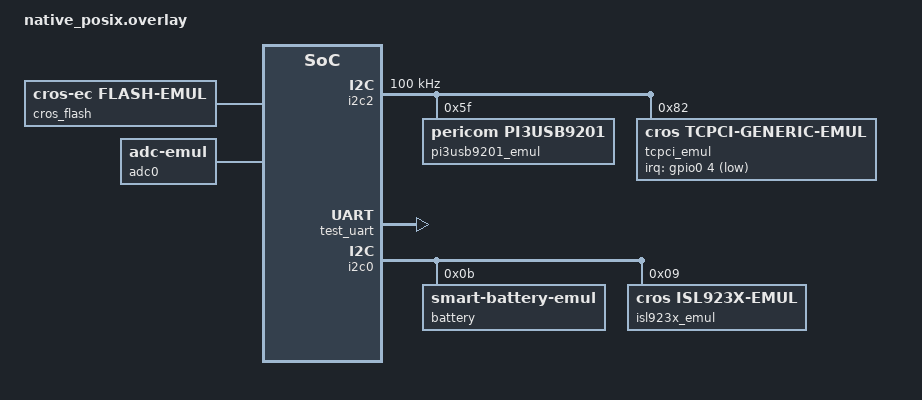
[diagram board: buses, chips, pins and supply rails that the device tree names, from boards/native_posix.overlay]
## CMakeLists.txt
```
# Copyright 2021 The ChromiumOS Authors
# Use of this source code is governed by a BSD-style license that can be
# found in the LICENSE file.

cmake_minimum_required(VERSION 3.13.1)
find_package(Zephyr REQUIRED HINTS "${ZEPHYR_BASE}")
project(vboot_efs2)

add_subdirectory(${PLATFORM_EC}/zephyr/test/test_utils test_utils)

FILE(GLOB app_sources src/*.c)
target_sources(app PRIVATE ${app_sources})
```

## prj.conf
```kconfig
# Copyright 2022 The ChromiumOS Authors
# Use of this source code is governed by a BSD-style license that can be
# found in the LICENSE file.

CONFIG_CROS_EC=y
CONFIG_FLASH=y
CONFIG_PLATFORM_EC=y
CONFIG_PLATFORM_EC_BACKLIGHT_LID=n
CONFIG_PLATFORM_EC_BATTERY_FUEL_GAUGE=y
CONFIG_PLATFORM_EC_CHARGER_ISL9238=y
CONFIG_PLATFORM_EC_CHARGER_SENSE_RESISTOR=10
CONFIG_PLATFORM_EC_CHARGER_SENSE_RESISTOR_AC=10
CONFIG_PLATFORM_EC_CHARGE_RAMP_SW=y
CONFIG_PLATFORM_EC_HOSTCMD=y
CONFIG_PLATFORM_EC_SWITCH=n
CONFIG_PLATFORM_EC_USBC=y
CONFIG_PLATFORM_EC_USB_CHARGER=y
CONFIG_PLATFORM_EC_USB_PD_DISCHARGE=n
CONFIG_PLATFORM_EC_USB_PD_TCPM_MUX=y
CONFIG_PLATFORM_EC_USB_PD_VBUS_DETECT_TCPC=y
CONFIG_PLATFORM_EC_USB_PD_VBUS_MEASURE_CHARGER=y
CONFIG_PLATFORM_EC_VBOOT_EFS2=y
CONFIG_PLATFORM_EC_VBOOT_HASH=y
CONFIG_RING_BUFFER=y
CONFIG_SERIAL=y
CONFIG_SHELL_BACKEND_DUMMY=y
CONFIG_SHELL_BACKEND_DUMMY_BUF_SIZE=1000
CONFIG_SHELL_BACKEND_SERIAL=n
CONFIG_ZTEST=y
CONFIG_EMUL=y
```

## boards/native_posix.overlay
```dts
/* Copyright 2022 The ChromiumOS Authors
 * Use of this source code is governed by a BSD-style license that can be
 * found in the LICENSE file.
 */

#include <board-overlays/native_posix.dts>
#include <cros/binman.dtsi>

/ {
	chosen {
		cros-ec,flash = &flash1;
		cros-ec,flash-controller = &cros_flash;
		zephyr,shell-uart = &test_uart;
	};
	aliases {
		gpio-wp = &gpio_wp_l;
	};
	named-gpios {
		compatible = "named-gpios";
		ec_gsc_packet_mode {
			gpios = <&gpio0 2 GPIO_OUTPUT_LOW>;
			enum-name = "GPIO_PACKET_MODE_EN";
		};
		gpio_wp_l: wp_l {
			gpios = <&gpio0 3 (GPIO_INPUT | GPIO_ACTIVE_LOW)>;
		};
		usb_c0_tcpc_int_odl: usb_c0_tcpc_int_odl {
			gpios = <&gpio0 4 (GPIO_INPUT | GPIO_ACTIVE_LOW)>;
		};
		ec_batt_pres_odl {
			gpios = <&gpio0 5 GPIO_INPUT>;
			enum-name = "GPIO_BATT_PRES_ODL";
		};
	};
	cros_flash: cros-flash {
		compatible = "cros-ec,flash-emul";
	};
	flash1: flash@64000000 {
		reg = <0x64000000 DT_SIZE_K(512)>;
	};
	named-i2c-ports {
		compatible = "named-i2c-ports";

		named_i2c0: i2c0 {
			i2c-port = <&i2c0>;
			enum-names = "I2C_PORT_BATTERY",
				"I2C_PORT_CHARGER";
		};
		named_i2c2: i2c2 {
			i2c-port = <&i2c2>;
			dynamic-speed;
			enum-names = "I2C_PORT_USB_C0";
		};
	};
	usbc {
		#address-cells = <1>;
		#size-cells = <0>;

		port0@0 {
			compatible = "named-usbc-port";
			reg = <0>;
			bc12 = <&pi3usb9201_emul>;
			chg = <&isl923x_emul>;
			tcpc = <&tcpci_emul>;
			usb-mux-chain-1 {
				compatible = "cros-ec,usb-mux-chain";
				usb-muxes = <&tcpci_mux_c0>;
			};
		};
		port0-muxes {
			tcpci_mux_c0: tcpci-mux-c0 {
				compatible = "cros-ec,usbc-mux-tcpci";
			};
		};
	};
	i2c2: i2c@500 {
		status = "okay";
		compatible = "zephyr,i2c-emul-controller";
		clock-frequency = <I2C_BITRATE_STANDARD>;
		#address-cells = <1>;
		#size-cells = <0>;
		reg = <0x500 4>;

		pi3usb9201_emul: pi3usb9201@5f {
			compatible = "pericom,pi3usb9201";
			reg = <0x5f>;
		};
		tcpci_emul: tcpci_emul@82 {
			compatible = "cros,tcpci-generic-emul";
			status = "okay";
			reg = <0x82>;
			irq-gpios = <&gpio0 4 GPIO_ACTIVE_LOW>;
		};
	};
	adc0: adc {
		compatible = "zephyr,adc-emul";
		nchannels = <6>;
		ref-internal-mv = <3300>;
		#io-channel-cells = <1>;
		status = "okay";
	};
	named-adc-channels {
		compatible = "named-adc-channels";

		adc_charger: charger {
			enum-name = "ADC_TEMP_SENSOR_CHARGER";
			io-channels = <&adc0 0>;
		};
	};
	batteries {
		default_battery: lgc_ac17a8m {
			compatible = "lgc,ac17a8m", "battery-smart";
		};
	};
	test_uart: uart@55556666 {
		compatible = "vnd,serial";
		reg = <0x55556666 0x1000>;
		status = "okay";
		buffer-size = <200>;
	};
};

&gpio0 {
	ngpios = <6>;
};

&i2c0 {
	battery: sb@b {
		compatible = "zephyr,smart-battery-emul";
		reg = <0xb>;
		cycle-count = <99>;
		version = "BATTERY_SPEC_VER_1_1_WITH_PEC";
		/* Real battery voltages are multiples of 4.4V. */
		desired-charg-volt = <5000>;
		desired-charg-cur = <1000>;
		mf-name = "LGC";
		dev-name = "AC17A8M";
	};

	isl923x_emul: isl923x@9 {
		compatible = "cros,isl923x-emul";
		status = "okay";
		reg = <0x9>;
		battery = <&battery>;
	};
};
```

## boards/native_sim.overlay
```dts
/* Copyright 2022 The ChromiumOS Authors
 * Use of this source code is governed by a BSD-style license that can be
 * found in the LICENSE file.
 */

#include <board-overlays/native_sim.dts>
#include <cros/binman.dtsi>

/ {
	chosen {
		cros-ec,flash = &flash1;
		cros-ec,flash-controller = &cros_flash;
		zephyr,shell-uart = &test_uart;
	};
	aliases {
		gpio-wp = &gpio_wp_l;
	};
	named-gpios {
		compatible = "named-gpios";
		ec_gsc_packet_mode {
			gpios = <&gpio0 2 GPIO_OUTPUT_LOW>;
			enum-name = "GPIO_PACKET_MODE_EN";
		};
		gpio_wp_l: wp_l {
			gpios = <&gpio0 3 (GPIO_INPUT | GPIO_ACTIVE_LOW)>;
		};
		usb_c0_tcpc_int_odl: usb_c0_tcpc_int_odl {
			gpios = <&gpio0 4 (GPIO_INPUT | GPIO_ACTIVE_LOW)>;
		};
		ec_batt_pres_odl {
			gpios = <&gpio0 5 GPIO_INPUT>;
			enum-name = "GPIO_BATT_PRES_ODL";
		};
	};
	cros_flash: cros-flash {
		compatible = "cros-ec,flash-emul";
	};
	flash1: flash@64000000 {
		reg = <0x64000000 DT_SIZE_K(512)>;
	};
	named-i2c-ports {
		compatible = "named-i2c-ports";

		named_i2c0: i2c0 {
			i2c-port = <&i2c0>;
			enum-names = "I2C_PORT_BATTERY",
				"I2C_PORT_CHARGER";
		};
		named_i2c2: i2c2 {
			i2c-port = <&i2c2>;
			dynamic-speed;
			enum-names = "I2C_PORT_USB_C0";
		};
	};
	usbc {
		#address-cells = <1>;
		#size-cells = <0>;

		port0@0 {
			compatible = "named-usbc-port";
			reg = <0>;
			bc12 = <&pi3usb9201_emul>;
			chg = <&isl923x_emul>;
			tcpc = <&tcpci_emul>;
			usb-mux-chain-1 {
				compatible = "cros-ec,usb-mux-chain";
				usb-muxes = <&tcpci_mux_c0>;
			};
		};
		port0-muxes {
			tcpci_mux_c0: tcpci-mux-c0 {
				compatible = "cros-ec,usbc-mux-tcpci";
			};
		};
	};
	i2c2: i2c@500 {
		status = "okay";
		compatible = "zephyr,i2c-emul-controller";
		clock-frequency = <I2C_BITRATE_STANDARD>;
		#address-cells = <1>;
		#size-cells = <0>;
		reg = <0x500 4>;

		pi3usb9201_emul: pi3usb9201@5f {
			compatible = "pericom,pi3usb9201";
			reg = <0x5f>;
		};
		tcpci_emul: tcpci_emul@82 {
			compatible = "cros,tcpci-generic-emul";
			status = "okay";
			reg = <0x82>;
			irq-gpios = <&gpio0 4 GPIO_ACTIVE_LOW>;
		};
	};
	adc0: adc {
		compatible = "zephyr,adc-emul";
		nchannels = <6>;
		ref-internal-mv = <3300>;
		#io-channel-cells = <1>;
		status = "okay";
	};
	named-adc-channels {
		compatible = "named-adc-channels";

		adc_charger: charger {
			enum-name = "ADC_TEMP_SENSOR_CHARGER";
			io-channels = <&adc0 0>;
		};
	};
	batteries {
		default_battery: lgc_ac17a8m {
			compatible = "lgc,ac17a8m", "battery-smart";
		};
	};
	test_uart: uart@55556666 {
		compatible = "vnd,serial";
		reg = <0x55556666 0x1000>;
		status = "okay";
		buffer-size = <200>;
	};
};

&gpio0 {
	ngpios = <6>;
};

&i2c0 {
	battery: sb@b {
		compatible = "zephyr,smart-battery-emul";
		reg = <0xb>;
		cycle-count = <99>;
		version = "BATTERY_SPEC_VER_1_1_WITH_PEC";
		/* Real battery voltages are multiples of 4.4V. */
		desired-charg-volt = <5000>;
		desired-charg-cur = <1000>;
		mf-name = "LGC";
		dev-name = "AC17A8M";
	};

	isl923x_emul: isl923x@9 {
		compatible = "cros,isl923x-emul";
		status = "okay";
		reg = <0x9>;
		battery = <&battery>;
	};
};
```

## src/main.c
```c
/* Copyright 2022 The ChromiumOS Authors
 * Use of this source code is governed by a BSD-style license that can be
 * found in the LICENSE file.
 */

#include "driver/bc12/pi3usb9201_public.h"
#include "driver/tcpm/tcpci.h"
#include "ec_app_main.h"
#include "emul/emul_flash.h"
#include "hooks.h"
#include "ppc/sn5s330_public.h"
#include "system_fake.h"
#include "task.h"
#include "usb_mux.h"
#include "usbc_ppc.h"
#include "vboot.h"
#include "zephyr/devicetree.h"

#include <stdint.h>

#include <zephyr/drivers/gpio/gpio_emul.h>
#include <zephyr/drivers/uart/serial_test.h>
#include <zephyr/kernel.h>
#include <zephyr/shell/shell_dummy.h>
#include <zephyr/ztest_assert.h>
#include <zephyr/ztest_test.h>

#define SERIAL_BUFFER_SIZE DT_PROP(DT_NODELABEL(test_uart), buffer_size)

static int show_power_shortage_called;
void show_power_shortage(void)
{
	show_power_shortage_called++;
}

static int show_critical_error_called;
void show_critical_error(void)
{
	show_critical_error_called++;
}

int extpower_is_present(void)
{
	return 1;
}

ZTEST(vboot_efs2, test_vboot_main_system_is_in_rw)
{
	const struct shell *shell_zephyr = get_ec_shell();
	const char *outbuffer;
	size_t buffer_size;
	const struct ec_params_reboot_ec *cmd = system_get_reboot_at_shutdown();

	/* Set system_is_in_rw */
	system_set_shrspi_image_copy(EC_IMAGE_RW);

	shell_backend_dummy_clear_output(shell_zephyr);
	vboot_main();

	outbuffer = shell_backend_dummy_get_output(shell_zephyr, &buffer_size);
	zassert_equal(show_power_shortage_called, 1, NULL);

	zassert_true(strstr(outbuffer, "VB Already in RW") != NULL,
		     "Expected msg not in %s", outbuffer);
	zassert_equal(cmd->cmd, 0);
	zassert_equal(cmd->flags, 0);

	/* Verify some things we don't expect also. */
	zassert_true(strstr(outbuffer, "VB Ping Cr50") == NULL,
		     "Unexpected msg in %s", outbuffer);
	zassert_true(strstr(outbuffer, "VB Exit") == NULL,
		     "Unexpected msg in %s", outbuffer);
	zassert_false(vboot_allow_usb_pd(), NULL);
	zassert_equal(show_critical_error_called, 0, NULL);
}

ZTEST(vboot_efs2, test_vboot_main_system_is_manual_recovery)
{
	const struct shell *shell_zephyr = get_ec_shell();
	const char *outbuffer;
	size_t buffer_size;
	const struct ec_params_reboot_ec *cmd = system_get_reboot_at_shutdown();

	system_enter_manual_recovery();

	shell_backend_dummy_clear_output(shell_zephyr);
	vboot_main();

	outbuffer = shell_backend_dummy_get_output(shell_zephyr, &buffer_size);
	zassert_equal(show_power_shortage_called, 0, NULL);
	zassert_true(
		strstr(outbuffer,
		       "VB Recovery mode. Scheduled reboot on shutdown.") !=
			NULL,
		"Expected msg not in %s", outbuffer);
	zassert_equal(cmd->cmd, EC_REBOOT_COLD);
	zassert_equal(cmd->flags, 0);

	/* Verify some things we don't expect also. */
	zassert_true(strstr(outbuffer, "VB Ping Cr50") == NULL,
		     "Unexpected msg in %s", outbuffer);
	zassert_true(strstr(outbuffer, "VB Exit") == NULL,
		     "Unexpected msg in %s", outbuffer);
	zassert_false(vboot_allow_usb_pd(), NULL);
	zassert_equal(show_critical_error_called, 0, NULL);
}

ZTEST(vboot_efs2, test_vboot_main_stay_in_ro)
{
	const struct shell *shell_zephyr = get_ec_shell();
	const char *outbuffer;
	size_t buffer_size;

	system_set_reset_flags(EC_RESET_FLAG_STAY_IN_RO);

	shell_backend_dummy_clear_output(shell_zephyr);
	vboot_main();

	outbuffer = shell_backend_dummy_get_output(shell_zephyr, &buffer_size);
	zassert_equal(show_power_shortage_called, 0, NULL);

	/* Verify some things we don't expect also. */
	zassert_true(strstr(outbuffer, "VB In recovery mode") == NULL,
		     "Expected msg not in %s", outbuffer);
	zassert_true(strstr(outbuffer, "VB Ping Cr50") == NULL,
		     "Unexpected msg in %s", outbuffer);
	zassert_true(strstr(outbuffer, "VB Exit") == NULL,
		     "Unexpected msg in %s", outbuffer);
	zassert_false(vboot_allow_usb_pd(), NULL);
	zassert_equal(show_critical_error_called, 0, NULL);
}

ZTEST(vboot_efs2, test_vboot_main_jump_timeout)
{
	const struct shell *shell_zephyr = get_ec_shell();
	const char *outbuffer;
	size_t buffer_size;

	shell_backend_dummy_clear_output(shell_zephyr);
	vboot_main();

	outbuffer = shell_backend_dummy_get_output(shell_zephyr, &buffer_size);
	zassert_equal(show_critical_error_called, 1, NULL);

	zassert_true(strstr(outbuffer, "VB Ping Cr50") != NULL,
		     "Expected msg not in %s", outbuffer);
	zassert_false(vboot_allow_usb_pd(), NULL);
	zassert_equal(show_power_shortage_called, 0, NULL);
}

#define PACKET_MODE_GPIO NAMED_GPIOS_GPIO_NODE(ec_gsc_packet_mode)

static const struct device *uart_shell_dev =
	DEVICE_DT_GET(DT_CHOSEN(zephyr_shell_uart));
static const struct device *gpio_dev =
	DEVICE_DT_GET(DT_GPIO_CTLR(PACKET_MODE_GPIO, gpios));

static void reply_cr50_payload(const struct device *dev, void *user_data)
{
	if (gpio_emul_output_get(gpio_dev,
				 DT_GPIO_PIN(PACKET_MODE_GPIO, gpios))) {
		struct cr50_comm_request req;
		uint32_t bytes_read;

		bytes_read = serial_vnd_peek_out_data(
			uart_shell_dev, (void *)&req, sizeof(req));
		/* If ! valid cr50_comm_request header, read 1 byte. */
		while (bytes_read == sizeof(req) &&
		       req.magic != CR50_PACKET_MAGIC) {
			/* Consume one byte and then peek again. */
			serial_vnd_read_out_data(uart_shell_dev, NULL, 1);
			bytes_read = serial_vnd_peek_out_data(
				uart_shell_dev, (void *)&req, sizeof(req));
		}
		if (bytes_read == sizeof(req)) {
			/* If we have a full packet, consume it, and reply
			 * with whatever is in user_data which holds a cr50
			 * reply.
			 */
			if (req.size + sizeof(req) <=
			    serial_vnd_out_data_size_get(uart_shell_dev)) {
				serial_vnd_read_out_data(uart_shell_dev, NULL,
							 req.size +
								 sizeof(req));
				serial_vnd_queue_in_data(
					uart_shell_dev, user_data,
					sizeof(struct cr50_comm_response));
			}
		}
	} else {
		/* Packet mode is off, so just consume enough bytes from the out
		 * buffer to clear it.
		 */
		serial_vnd_read_out_data(uart_shell_dev, NULL,
					 SERIAL_BUFFER_SIZE);
	}
}

ZTEST(vboot_efs2, test_vboot_main_jump_bad_payload)
{
	const struct shell *shell_zephyr = get_ec_shell();
	const char *outbuffer;
	size_t buffer_size;
	struct cr50_comm_response resp = {
		.error = CR50_COMM_ERR_BAD_PAYLOAD,
	};

	serial_vnd_set_callback(uart_shell_dev, reply_cr50_payload, &resp);

	shell_backend_dummy_clear_output(shell_zephyr);
	vboot_main();

	outbuffer = shell_backend_dummy_get_output(shell_zephyr, &buffer_size);

	zassert_true(strstr(outbuffer, "VB Ping Cr50") != NULL,
		     "Expected msg not in %s", outbuffer);
	zassert_true(vboot_allow_usb_pd(), NULL);
	zassert_equal(show_power_shortage_called, 0, NULL);
	zassert_equal(show_critical_error_called, 0, NULL);
}

/* This hits the default case in verify_and_jump. */
ZTEST(vboot_efs2, test_vboot_main_jump_bad_crc)
{
	const struct shell *shell_zephyr = get_ec_shell();
	const char *outbuffer;
	size_t buffer_size;
	struct cr50_comm_response resp = {
		.error = CR50_COMM_ERR_CRC,
	};

	serial_vnd_set_callback(uart_shell_dev, reply_cr50_payload, &resp);

	shell_backend_dummy_clear_output(shell_zephyr);
	vboot_main();

	outbuffer = shell_backend_dummy_get_output(shell_zephyr, &buffer_size);

	zassert_true(strstr(outbuffer, "VB Ping Cr50") != NULL,
		     "Expected msg not in %s", outbuffer);
	zassert_true(strstr(outbuffer, "VB Failed to verify RW (0xec03)") !=
			     NULL,
		     "Expected msg not in %s", outbuffer);
	zassert_false(vboot_allow_usb_pd(), NULL);
	zassert_equal(show_power_shortage_called, 0, NULL);
	zassert_equal(show_critical_error_called, 1, NULL);
}

ZTEST(vboot_efs2, test_vboot_main_vboot_get_rw_hash_fail)
{
	const struct shell *shell_zephyr = get_ec_shell();
	const char *outbuffer;
	size_t buffer_size;
	struct ec_response_vboot_hash response;
	struct ec_params_vboot_hash hash_start_params = {
		.cmd = EC_VBOOT_HASH_START,
		.hash_type = EC_VBOOT_HASH_TYPE_SHA256,
		.offset = 0,
		.size = 0x12345,
	};

	shell_backend_dummy_clear_output(shell_zephyr);

	zassert_ok(ec_cmd_vboot_hash(NULL, &hash_start_params, &response),
		   NULL);
	vboot_main();

	outbuffer = shell_backend_dummy_get_output(shell_zephyr, &buffer_size);

	zassert_true(strstr(outbuffer, "VB Ping Cr50") != NULL,
		     "Expected msg not in %s", outbuffer);
	zassert_true(strstr(outbuffer, "VB Failed to verify RW (0x6)") != NULL,
		     "Expected msg not in %s", outbuffer);
	zassert_false(vboot_allow_usb_pd(), NULL);
	zassert_equal(show_power_shortage_called, 0, NULL);
	zassert_equal(show_critical_error_called, 1, NULL);
}

ZTEST(vboot_efs2, test_vboot_main_jump_success)
{
	const struct shell *shell_zephyr = get_ec_shell();
	const char *outbuffer;
	size_t buffer_size;
	struct cr50_comm_response resp = {
		.error = CR50_COMM_SUCCESS,
	};

	serial_vnd_set_callback(uart_shell_dev, reply_cr50_payload, &resp);

	shell_backend_dummy_clear_output(shell_zephyr);
	vboot_main();

	outbuffer = shell_backend_dummy_get_output(shell_zephyr, &buffer_size);

	zassert_true(strstr(outbuffer, "VB Ping Cr50") != NULL,
		     "Expected msg not in %s", outbuffer);
	zassert_false(vboot_allow_usb_pd(), NULL);
	zassert_equal(show_power_shortage_called, 0, NULL);
	zassert_equal(show_critical_error_called, 1, NULL);
	zassert_equal(system_get_reset_flags(), 0, NULL);
}

void *vboot_efs2_setup(void)
{
	/* Wait for the shell to start. */
	k_sleep(K_MSEC(1));
	zassert_equal(get_ec_shell()->ctx->state, SHELL_STATE_ACTIVE, NULL);

	system_common_pre_init();

	return NULL;
}

void vboot_efs2_cleanup(void *fixture)
{
	ARG_UNUSED(fixture);

	system_set_shrspi_image_copy(EC_IMAGE_RO);
	show_power_shortage_called = 0;
	show_critical_error_called = 0;
	system_exit_manual_recovery();
	system_clear_reset_flags(EC_RESET_FLAG_STAY_IN_RO | EC_RESET_FLAG_EFS |
				 EC_RESET_FLAG_AP_IDLE);
	vboot_disable_pd();
	serial_vnd_set_callback(uart_shell_dev, NULL, NULL);
	serial_vnd_read_out_data(uart_shell_dev, NULL, SERIAL_BUFFER_SIZE);
}

ZTEST_SUITE(vboot_efs2, NULL, vboot_efs2_setup, NULL, vboot_efs2_cleanup, NULL);

int board_set_active_charge_port(int port)
{
	return EC_ERROR_INVAL;
}

__override void board_set_charge_limit(int port, int supplier, int charge_ma,
				       int max_ma, int charge_mv)
{
}

void pd_power_supply_reset(int port)
{
}

int pd_check_vconn_swap(int port)
{
	return 0;
}

int pd_set_power_supply_ready(int port)
{
	return EC_SUCCESS;
}

enum usbc_port { USBC_PORT_COUNT };
```
